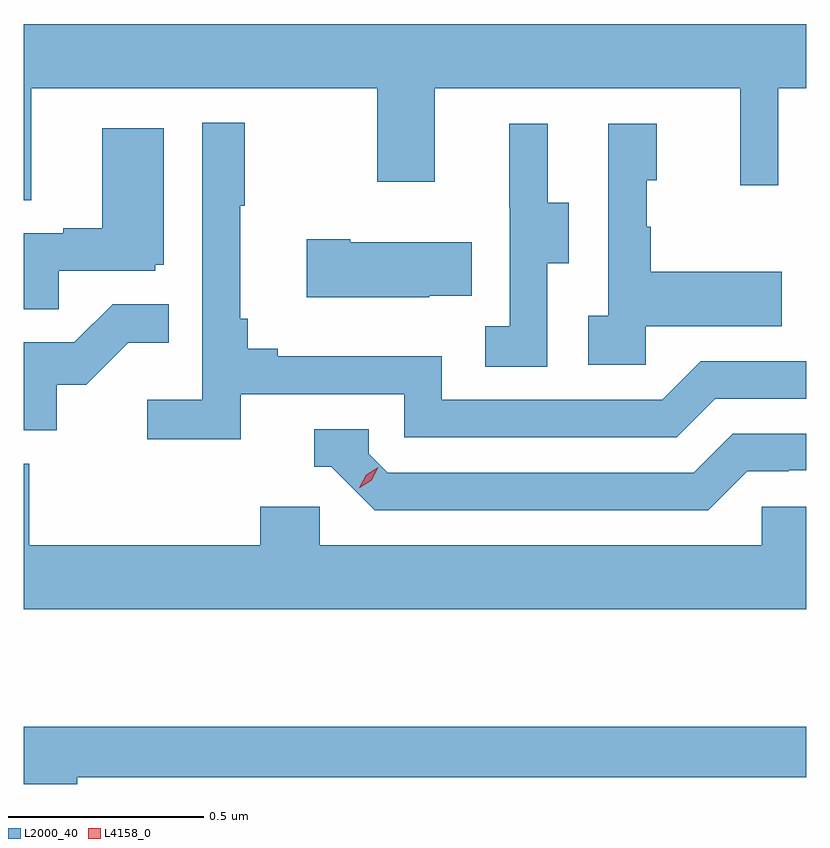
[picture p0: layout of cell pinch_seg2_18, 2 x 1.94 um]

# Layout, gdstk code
import gdstk
lib = gdstk.Library(unit=1e-6, precision=1e-09)
def P(c, l, *ps):  # polygons
    for p in ps: c.add(gdstk.Polygon(p, *l))
L2000_40 = (2000, 40)
L4158_0 = (4158, 0)

pinch_seg2_18 = lib.new_cell('pinch_seg2_18')
P(pinch_seg2_18, L2000_40, [(1090.681,648.968),(1091.566,648.968),(1091.566,648.729),(1091.713,648.729),(1091.713,648.968),(1092.494,648.968),(1092.494,648.72),(1092.591,648.72),(1092.591,648.968),(1092.662,648.968),(1092.662,649.132),(1090.662,649.132),(1090.662,648.682),(1090.681,648.682)],
  [(1091.216,648.186),(1091.634,648.186),(1091.634,648.075),(1092.331,648.075),(1092.43,648.174),(1092.662,648.174),(1092.662,648.27),(1092.393,648.27),(1092.294,648.171),(1091.73,648.171),(1091.73,648.283),(1091.311,648.283),(1091.311,648.302),(1091.234,648.302),(1091.234,648.379),(1091.215,648.379),(1091.215,648.667),(1091.227,648.667),(1091.227,648.88),(1091.118,648.88),(1091.118,648.172),(1090.977,648.172),(1090.977,648.07),(1091.216,648.07)],
  [(1092,648.52),(1092.055,648.52),(1092.055,648.675),(1092.001,648.675),(1092.001,648.877),(1091.903,648.877),(1091.903,648.663),(1091.904,648.663),(1091.904,648.359),(1091.841,648.359),(1091.841,648.256),(1092,648.256)],
  [(1092.252,648.359),(1092.599,648.359),(1092.599,648.499),(1092.265,648.499),(1092.265,648.614),(1092.255,648.614),(1092.255,648.732),(1092.28,648.732),(1092.28,648.877),(1092.156,648.877),(1092.156,648.386),(1092.105,648.386),(1092.105,648.261),(1092.252,648.261)],
  [(1090.751,648.501),(1090.998,648.501),(1090.998,648.516),(1091.02,648.516),(1091.02,648.865),(1090.862,648.865),(1090.862,648.61),(1090.763,648.61),(1090.763,648.597),(1090.662,648.597),(1090.662,648.403),(1090.751,648.403)],
  [(1091.699,648.437),(1091.807,648.437),(1091.807,648.574),(1091.497,648.574),(1091.497,648.582),(1091.385,648.582),(1091.385,648.434),(1091.699,648.434)],
  [(1090.746,648.21),(1090.822,648.21),(1090.929,648.317),(1091.033,648.317),(1091.033,648.416),(1090.889,648.416),(1090.791,648.318),(1090.662,648.318),(1090.662,648.093),(1090.746,648.093)],
  [(1092.511,647.988),(1092.618,647.988),(1092.618,647.991),(1092.662,647.991),(1092.662,648.084),(1092.474,648.084),(1092.375,647.985),(1091.592,647.985),(1091.544,648.033),(1091.544,648.096),(1091.405,648.096),(1091.405,648),(1091.448,648),(1091.559,647.889),(1092.412,647.889)],
  [(1092.662,647.898),(1092.549,647.898),(1092.549,647.8),(1091.418,647.8),(1091.418,647.898),(1091.267,647.898),(1091.267,647.8),(1090.676,647.8),(1090.676,648.008),(1090.662,648.008),(1090.662,647.636),(1092.662,647.636)],
  [(1090.798,647.206),(1092.662,647.206),(1092.662,647.335),(1090.662,647.335),(1090.662,647.189),(1090.798,647.189)])
P(pinch_seg2_18, L4158_0, [(1091.52,647.947),(1091.52,647.947),(1091.537,647.98),(1091.568,647.999),(1091.568,647.999),(1091.568,647.999),(1091.552,647.966),(1091.521,647.947)])

lib.write_gds('pinch_seg2_18.gds')
